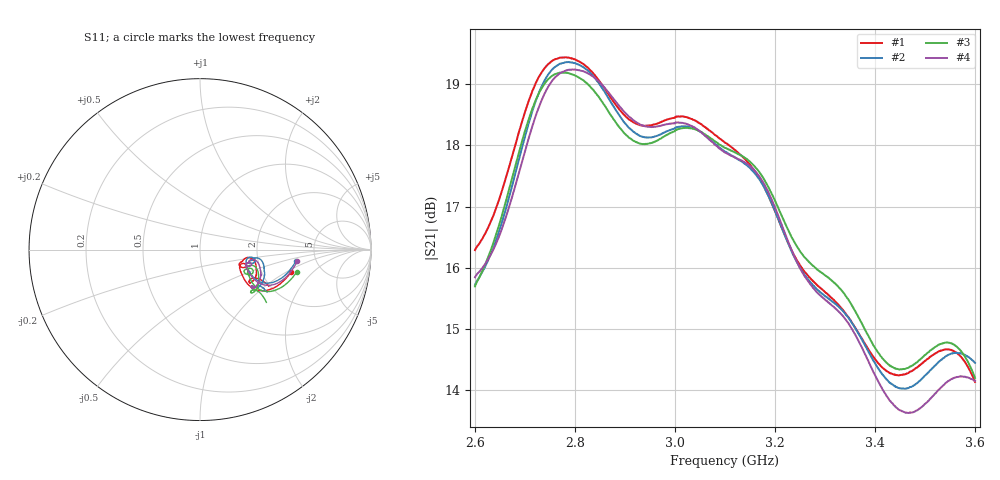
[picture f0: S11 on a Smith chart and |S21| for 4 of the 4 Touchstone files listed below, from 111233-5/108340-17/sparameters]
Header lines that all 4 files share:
#  HZ  S  DB  R  50.00
! Rohde & Schwarz Vector Network Analyzer
! Rohde-Schwarz,ZNB8-2Port,1311601042101540,3.40
! freq[Hz]  db:S11  ang:S11  db:S21  ang:S21  db:S12  ang:S12  db:S22  ang:S22
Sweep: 2.6 GHz to 3.6 GHz
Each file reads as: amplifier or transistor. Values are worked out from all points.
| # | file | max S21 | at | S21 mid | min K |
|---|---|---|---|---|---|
| 1 | 1.s2p | 19.4 dB | 2.782 GHz | 18.0 dB at 3.1 GHz | 3.90 |
| 2 | 2.s2p | 19.4 dB | 2.788 GHz | 17.9 dB at 3.1 GHz | 3.82 |
| 3 | 3.s2p | 19.2 dB | 2.773 GHz | 18.0 dB at 3.1 GHz | 3.69 |
| 4 | 4.s2p | 19.2 dB | 2.795 GHz | 17.9 dB at 3.1 GHz | 3.80 |
